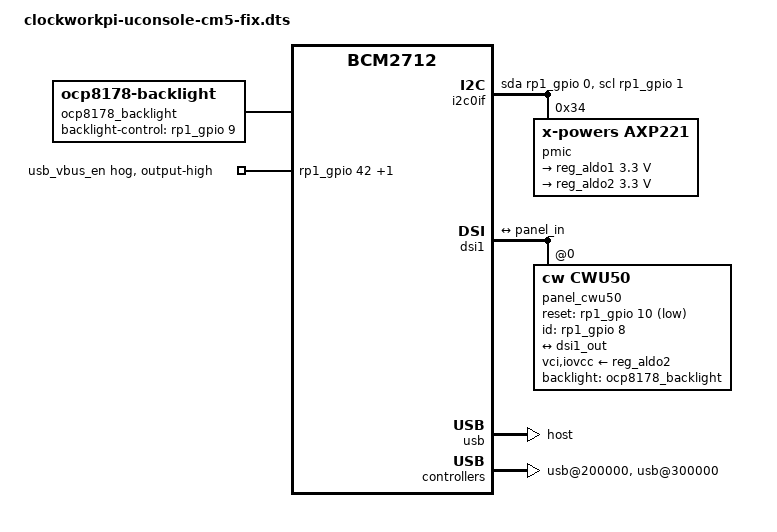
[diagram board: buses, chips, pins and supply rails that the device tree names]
/dts-v1/;
/plugin/;

#include <dt-bindings/gpio/gpio.h>

/ {
	compatible = "brcm,bcm2712";

	/* Disable HDMI to prevent conflict with RP1 DSI/USB */
	fragment@0 {
		target = <&hdmi0>;
		__overlay__ { status = "disabled"; };
	};
	fragment@1 {
		target = <&hdmi1>;
		__overlay__ { status = "disabled"; };
	};

	/* DISABLE SPI10 to free GPIO 1 for PMIC I2C */
	fragment@2 {
		target-path = "/soc@107c000000/spi@7d004000";
		__overlay__ { status = "disabled"; };
	};

	fragment@3 {
		target = <&dsi1>;
		__overlay__ {
			status = "okay";
			#address-cells = <1>;
			#size-cells = <0>;

			port {
				dsi1_out: endpoint {
					remote-endpoint = <&panel_in>;
				};
			};

			panel_cwu50: panel@0 {
				compatible = "cw,cwu50";
				reg = <0>;
				reset-gpio = <&rp1_gpio 10 GPIO_ACTIVE_LOW>;
				id-gpio = <&rp1_gpio 8 GPIO_ACTIVE_HIGH>;
				pinctrl-names = "default";
				pinctrl-0 = <&panel_id_pins>;
				backlight = <&ocp8178_backlight>;
				rotation = <90>;
				vci-supply = <&reg_aldo2>;
				iovcc-supply = <&reg_aldo2>;

				port {
					panel_in: endpoint {
						remote-endpoint = <&dsi1_out>;
					};
				};
			};
		};
	};

	fragment@4 {
		target = <&rp1_gpio>;
		__overlay__ {
			panel_id_pins: panel_id_pins {
				function = "gpio";
				pins = "gpio8";
				bias-pull-down;
			};

			usb_vbus_hog: usb_vbus_hog {
				gpio-hog;
				gpios = <42 0 43 0>;
				output-high;
				line-name = "usb_vbus_en";
			};
		};
	};

	fragment@5 {
		target-path = "/";
		__overlay__ {
			ocp8178_backlight: backlight@0 {
				compatible = "ocp8178-backlight";
				backlight-control-gpios = <&rp1_gpio 9 GPIO_ACTIVE_HIGH>;
				default-brightness = <5>;
				status = "okay";
			};

			i2c0if: i2c0if {
				compatible = "i2c-gpio";
				gpios = <&rp1_gpio 0 (GPIO_ACTIVE_HIGH | 6)>,
				        <&rp1_gpio 1 (GPIO_ACTIVE_HIGH | 6)>;
				i2c-gpio,delay-us = <20>;
				#address-cells = <1>;
				#size-cells = <0>;
				status = "okay";

				pmic@34 {
					compatible = "x-powers,axp221", "simple-mfd";
					reg = <0x34>;
					system-power-controller;

					regulators {
						reg_aldo1: aldo1 {
							regulator-name = "audio-vdd";
							regulator-min-microvolt = <3300000>;
							regulator-max-microvolt = <3300000>;
							regulator-always-on;
						};
						reg_aldo2: aldo2 {
							regulator-name = "display-vcc";
							regulator-min-microvolt = <3300000>;
							regulator-max-microvolt = <3300000>;
							regulator-always-on;
						};
					};
				};
			};
		};
	};

	/* 4. USB setup - Back to HOST mode as originally working */
	fragment@6 {
		target = <&usb>;
		__overlay__ {
			status = "okay";
			dr_mode = "host";
		};
	};

	/* Explicitly enable USB controllers */
	fragment@7 {
		target-path = "/axi/pcie@1000120000/pci@0,0/dev@0,0/rp1/usb@200000";
		__overlay__ {
			status = "okay";
		};
	};

	fragment@8 {
		target-path = "/axi/pcie@1000120000/pci@0,0/dev@0,0/rp1/usb@300000";
		__overlay__ {
			status = "okay";
		};
	};
};
